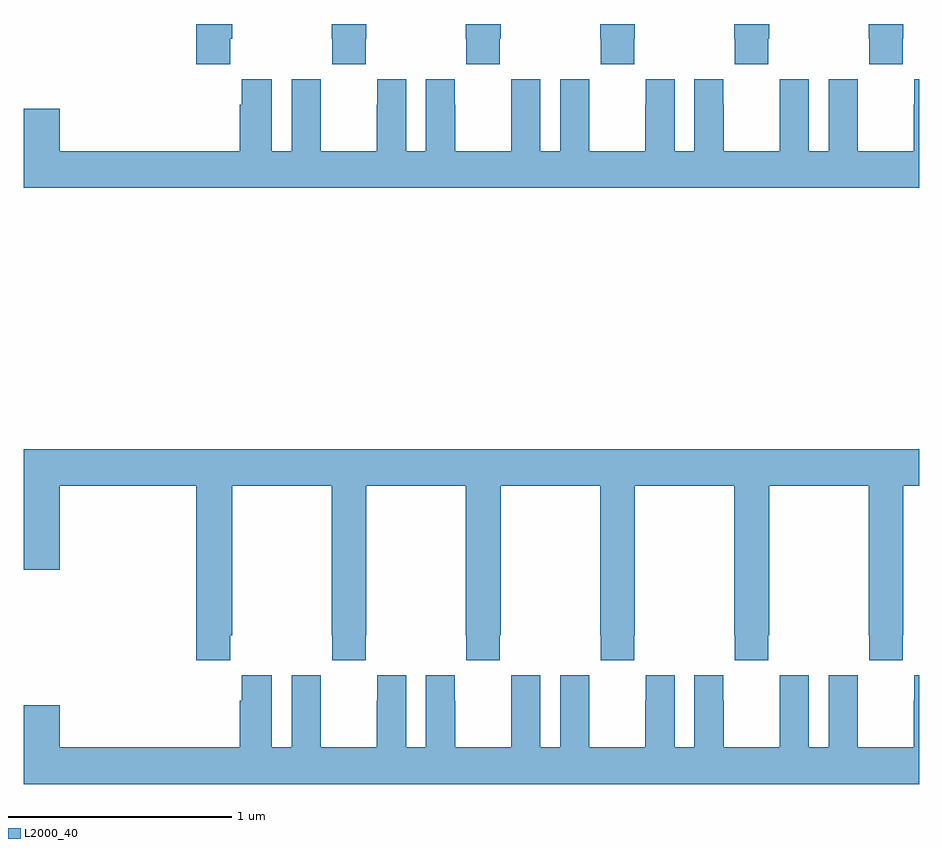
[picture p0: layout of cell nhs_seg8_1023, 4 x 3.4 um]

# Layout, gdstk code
import gdstk
lib = gdstk.Library(unit=1e-6, precision=1e-09)
def P(c, l, *ps):  # polygons
    for p in ps: c.add(gdstk.Polygon(p, *l))
L2000_40 = (2000, 40)

nhs_seg8_1023 = lib.new_cell('nhs_seg8_1023')
P(nhs_seg8_1023, L2000_40, [(180.927,1115.833),(180.93,1115.833),(180.93,1115.9),(180.775,1115.9),(180.775,1115.833),(180.777,1115.833),(180.777,1115.721),(180.927,1115.721)],
  [(180.327,1115.833),(180.33,1115.833),(180.33,1115.9),(180.175,1115.9),(180.175,1115.833),(180.177,1115.833),(180.177,1115.721),(180.327,1115.721)],
  [(179.727,1115.833),(179.73,1115.833),(179.73,1115.9),(179.575,1115.9),(179.575,1115.833),(179.577,1115.833),(179.577,1115.721),(179.727,1115.721)],
  [(179.127,1115.833),(179.13,1115.833),(179.13,1115.9),(178.975,1115.9),(178.975,1115.833),(178.977,1115.833),(178.977,1115.721),(179.127,1115.721)],
  [(178.527,1115.833),(178.53,1115.833),(178.53,1115.9),(178.375,1115.9),(178.375,1115.833),(178.377,1115.833),(178.377,1115.721),(178.527,1115.721)],
  [(177.923,1115.833),(177.93,1115.833),(177.93,1115.9),(177.77,1115.9),(177.77,1115.721),(177.923,1115.721)],
  [(181,1115.653),(180.978,1115.653),(180.978,1115.54),(180.977,1115.54),(180.977,1115.332),(180.727,1115.332),(180.727,1115.54),(180.726,1115.54),(180.726,1115.653),(180.596,1115.653),(180.596,1115.332),(180.508,1115.332),(180.508,1115.653),(180.378,1115.653),(180.378,1115.54),(180.377,1115.54),(180.377,1115.332),(180.127,1115.332),(180.127,1115.54),(180.126,1115.54),(180.126,1115.653),(179.996,1115.653),(179.996,1115.332),(179.908,1115.332),(179.908,1115.653),(179.778,1115.653),(179.778,1115.54),(179.777,1115.54),(179.777,1115.332),(179.527,1115.332),(179.527,1115.54),(179.526,1115.54),(179.526,1115.653),(179.396,1115.653),(179.396,1115.332),(179.308,1115.332),(179.308,1115.653),(179.178,1115.653),(179.178,1115.54),(179.177,1115.54),(179.177,1115.332),(178.927,1115.332),(178.927,1115.54),(178.926,1115.54),(178.926,1115.653),(178.796,1115.653),(178.796,1115.332),(178.708,1115.332),(178.708,1115.653),(178.578,1115.653),(178.578,1115.54),(178.577,1115.54),(178.577,1115.332),(178.327,1115.332),(178.327,1115.54),(178.326,1115.54),(178.326,1115.653),(178.196,1115.653),(178.196,1115.332),(178.108,1115.332),(178.108,1115.653),(177.974,1115.653),(177.974,1115.54),(177.965,1115.54),(177.965,1115.332),(177.16,1115.332),(177.16,1115.521),(177,1115.521),(177,1115.168),(181,1115.168)],
  [(177,1113.462),(177.16,1113.462),(177.16,1113.836),(177.77,1113.836),(177.77,1113.057),(177.923,1113.057),(177.923,1113.169),(177.93,1113.169),(177.93,1113.836),(178.375,1113.836),(178.375,1113.169),(178.377,1113.169),(178.377,1113.057),(178.527,1113.057),(178.527,1113.169),(178.53,1113.169),(178.53,1113.836),(178.975,1113.836),(178.975,1113.169),(178.977,1113.169),(178.977,1113.057),(179.127,1113.057),(179.127,1113.169),(179.13,1113.169),(179.13,1113.836),(179.575,1113.836),(179.575,1113.169),(179.577,1113.169),(179.577,1113.057),(179.727,1113.057),(179.727,1113.169),(179.73,1113.169),(179.73,1113.836),(180.175,1113.836),(180.175,1113.169),(180.177,1113.169),(180.177,1113.057),(180.327,1113.057),(180.327,1113.169),(180.33,1113.169),(180.33,1113.836),(180.775,1113.836),(180.775,1113.169),(180.777,1113.169),(180.777,1113.057),(180.927,1113.057),(180.927,1113.169),(180.93,1113.169),(180.93,1113.836),(181,1113.836),(181,1114),(177,1114)],
  [(181,1112.989),(180.978,1112.989),(180.978,1112.876),(180.977,1112.876),(180.977,1112.668),(180.727,1112.668),(180.727,1112.876),(180.726,1112.876),(180.726,1112.989),(180.596,1112.989),(180.596,1112.668),(180.508,1112.668),(180.508,1112.989),(180.378,1112.989),(180.378,1112.876),(180.377,1112.876),(180.377,1112.668),(180.127,1112.668),(180.127,1112.876),(180.126,1112.876),(180.126,1112.989),(179.996,1112.989),(179.996,1112.668),(179.908,1112.668),(179.908,1112.989),(179.778,1112.989),(179.778,1112.876),(179.777,1112.876),(179.777,1112.668),(179.527,1112.668),(179.527,1112.876),(179.526,1112.876),(179.526,1112.989),(179.396,1112.989),(179.396,1112.668),(179.308,1112.668),(179.308,1112.989),(179.178,1112.989),(179.178,1112.876),(179.177,1112.876),(179.177,1112.668),(178.927,1112.668),(178.927,1112.876),(178.926,1112.876),(178.926,1112.989),(178.796,1112.989),(178.796,1112.668),(178.708,1112.668),(178.708,1112.989),(178.578,1112.989),(178.578,1112.876),(178.577,1112.876),(178.577,1112.668),(178.327,1112.668),(178.327,1112.876),(178.326,1112.876),(178.326,1112.989),(178.196,1112.989),(178.196,1112.668),(178.108,1112.668),(178.108,1112.989),(177.974,1112.989),(177.974,1112.876),(177.965,1112.876),(177.965,1112.668),(177.16,1112.668),(177.16,1112.857),(177,1112.857),(177,1112.504),(181,1112.504)])

lib.write_gds('nhs_seg8_1023.gds')
